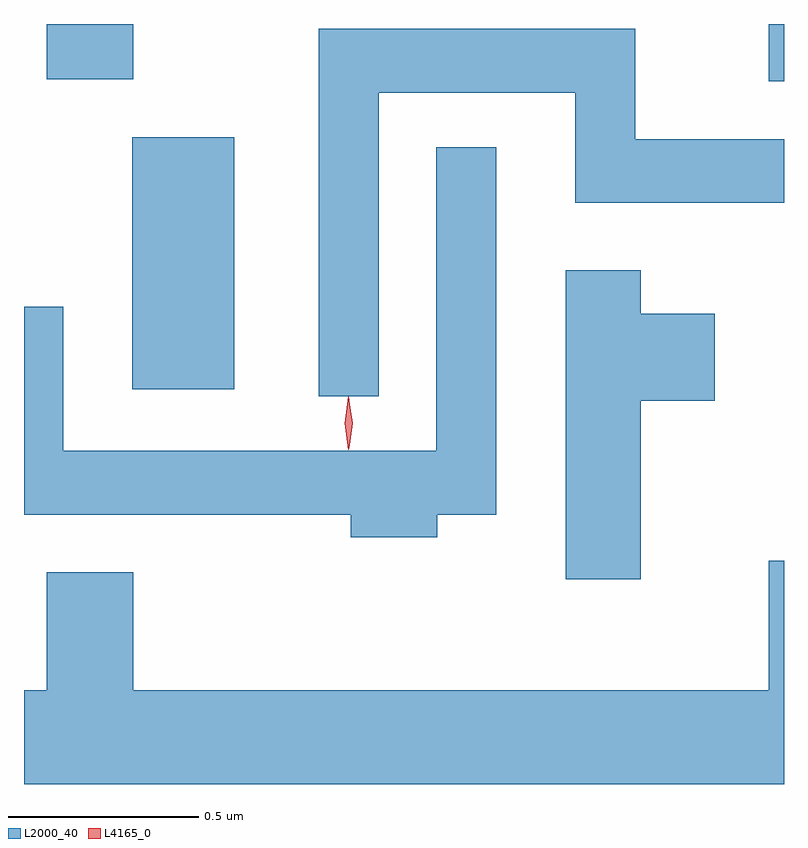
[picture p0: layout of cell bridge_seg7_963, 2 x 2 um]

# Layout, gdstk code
import gdstk
lib = gdstk.Library(unit=1e-6, precision=1e-09)
def R(c, l, rs):  # rectangles x0, y0, x1, y1
    for r in rs: c.add(gdstk.rectangle(r[:2], r[2:], *l))
def P(c, l, *ps):  # polygons
    for p in ps: c.add(gdstk.Polygon(p, *l))
L2000_40 = (2000, 40)
L4165_0 = (4165, 0)

bridge_seg7_963 = lib.new_cell('bridge_seg7_963')
R(bridge_seg7_963, L2000_40, [(592.666,1722.036,592.934,1722.699), (594.341,1722.846,594.381,1722.997), (592.441,1722.851,592.669,1722.997)])
P(bridge_seg7_963, L2000_40, [(593.314,1722.816),(593.831,1722.816),(593.831,1722.526),(594.381,1722.526),(594.381,1722.694),(593.989,1722.694),(593.989,1722.984),(593.156,1722.984),(593.156,1722.018),(593.314,1722.018)],
  [(593.469,1721.706),(593.624,1721.706),(593.624,1722.673),(593.466,1722.673),(593.466,1721.874),(592.484,1721.874),(592.484,1722.253),(592.381,1722.253),(592.381,1721.706),(593.241,1721.706),(593.241,1721.646),(593.469,1721.646)],
  [(594.004,1722.006),(594.199,1722.006),(594.199,1722.234),(594.004,1722.234),(594.004,1722.349),(593.806,1722.349),(593.806,1721.536),(594.004,1721.536)],
  [(592.441,1721.554),(592.441,1721.244),(592.381,1721.244),(592.381,1720.997),(594.381,1720.997),(594.381,1721.584),(594.341,1721.584),(594.341,1721.244),(592.669,1721.244),(592.669,1721.554)])
P(bridge_seg7_963, L4165_0, [(593.234,1721.877),(593.225,1721.946),(593.234,1722.016),(593.235,1722.016),(593.235,1722.016),(593.245,1721.946),(593.235,1721.877),(593.235,1721.877)],
  [(593.236,1721.879),(593.236,1721.88),(593.226,1721.946),(593.235,1722.012),(593.236,1722.013),(593.236,1722.012),(593.246,1721.946),(593.237,1721.88)])

lib.write_gds('bridge_seg7_963.gds')
